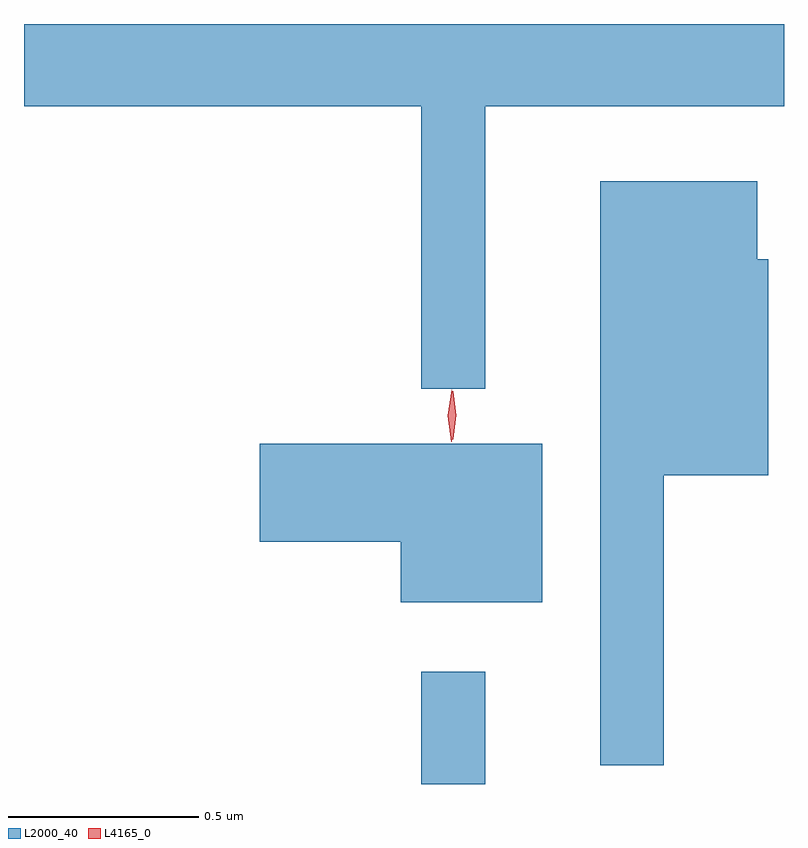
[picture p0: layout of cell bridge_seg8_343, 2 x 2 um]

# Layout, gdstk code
import gdstk
lib = gdstk.Library(unit=1e-6, precision=1e-09)
def R(c, l, rs):  # rectangles x0, y0, x1, y1
    for r in rs: c.add(gdstk.rectangle(r[:2], r[2:], *l))
def P(c, l, *ps):  # polygons
    for p in ps: c.add(gdstk.Polygon(p, *l))
L2000_40 = (2000, 40)
L4165_0 = (4165, 0)

bridge_seg8_343 = lib.new_cell('bridge_seg8_343')
R(bridge_seg8_343, L2000_40, [(859.891,1930.093,860.059,1930.388)])
P(bridge_seg8_343, L2000_40, [(860.059,1931.876),(860.845,1931.876),(860.845,1932.093),(858.845,1932.093),(858.845,1931.876),(859.891,1931.876),(859.891,1931.133),(860.059,1931.133)],
  [(860.529,1930.906),(860.804,1930.906),(860.804,1931.474),(860.774,1931.474),(860.774,1931.679),(860.361,1931.679),(860.361,1930.143),(860.529,1930.143)],
  [(860.209,1930.989),(859.466,1930.989),(859.466,1930.731),(859.836,1930.731),(859.836,1930.571),(860.209,1930.571)])
P(bridge_seg8_343, L4165_0, [(859.969,1930.994),(859.969,1930.994),(859.96,1931.062),(859.97,1931.13),(859.971,1931.13),(859.971,1931.13),(859.98,1931.062),(859.97,1930.994)],
  [(859.972,1931),(859.963,1931.063),(859.972,1931.126),(859.973,1931.127),(859.974,1931.126),(859.983,1931.063),(859.974,1931),(859.973,1931)])

lib.write_gds('bridge_seg8_343.gds')
